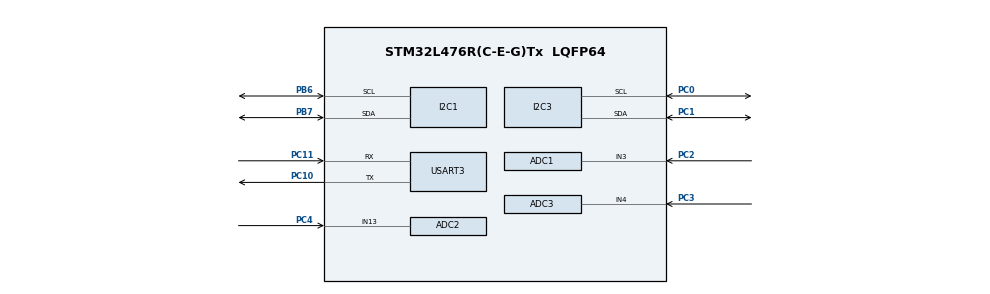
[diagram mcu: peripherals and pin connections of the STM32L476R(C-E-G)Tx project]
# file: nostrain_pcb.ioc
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ADC1.Channel-7\#ChannelRegularConversion=ADC_CHANNEL_3
ADC1.NbrOfConversionFlag=1
ADC1.OffsetNumber-7\#ChannelRegularConversion=ADC_OFFSET_NONE
ADC1.Rank-7\#ChannelRegularConversion=1
ADC1.SamplingTime-7\#ChannelRegularConversion=ADC_SAMPLETIME_2CYCLES_5
ADC1.master=1
ADC2.Channel-25\#ChannelRegularConversion=ADC_CHANNEL_13
ADC2.NbrOfConversionFlag=1
ADC2.OffsetNumber-25\#ChannelRegularConversion=ADC_OFFSET_NONE
ADC2.Rank-25\#ChannelRegularConversion=1
ADC2.SamplingTime-25\#ChannelRegularConversion=ADC_SAMPLETIME_2CYCLES_5
ADC3.Channel-13\#ChannelRegularConversion=ADC_CHANNEL_4
ADC3.NbrOfConversionFlag=1
ADC3.OffsetNumber-13\#ChannelRegularConversion=ADC_OFFSET_NONE
ADC3.Rank-13\#ChannelRegularConversion=1
ADC3.SamplingTime-13\#ChannelRegularConversion=ADC_SAMPLETIME_2CYCLES_5
Mcu.Family=STM32L4
Mcu.Name=STM32L476R(C-E-G)Tx
Mcu.Package=LQFP64
NVIC.PriorityGroup=NVIC_PRIORITYGROUP_4
PB6.Mode=I2C
PB6.Signal=I2C1_SCL
PB7.Mode=I2C
PB7.Signal=I2C1_SDA
PC0.Mode=I2C
PC0.Signal=I2C3_SCL
PC1.Mode=I2C
PC1.Signal=I2C3_SDA
PC10.Mode=Asynchronous
PC10.Signal=USART3_TX
PC11.Mode=Asynchronous
PC11.Signal=USART3_RX
PC2.Signal=ADCx_IN3
PC3.Signal=ADCx_IN4
PC4.Signal=ADCx_IN13
ProjectManager.HeapSize=0x200
ProjectManager.StackSize=0x400
ProjectManager.TargetToolchain=MDK-ARM V5
RCC.ADCFreq_Value=32000000
RCC.HSE_VALUE=8000000
RCC.HSI_VALUE=16000000
RCC.LSE_VALUE=32768
RCC.MSI_VALUE=4000000
RCC.PLLSAI1N=16
RCC.USBFreq_Value=32000000
RCC.VCOOutputFreq_Value=32000000
SH.ADCx_IN13.0=ADC2_IN13,IN13-Single-Ended
SH.ADCx_IN3.0=ADC1_IN3,IN3-Single-Ended
SH.ADCx_IN4.0=ADC3_IN4,IN4-Single-Ended
USART3.VirtualMode-Asynchronous=VM_ASYNC
board=nostrain_pcb

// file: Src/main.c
/**
  ******************************************************************************
  * File Name          : main.c
  * Description        : Main program body
  ******************************************************************************
  ** This notice applies to any and all portions of this file
  * that are not between comment pairs USER CODE BEGIN and
  * USER CODE END. Other portions of this file, whether
  * inserted by the user or by software development tools
  * are owned by their respective copyright owners.
  *
  * COPYRIGHT(c) 2018 STMicroelectronics
  *
  * Redistribution and use in source and binary forms, with or without modification,
  * are permitted provided that the following conditions are met:
  *   1. Redistributions of source code must retain the above copyright notice,
  *      this list of conditions and the following disclaimer.
  *   2. Redistributions in binary form must reproduce the above copyright notice,
  *      this list of conditions and the following disclaimer in the documentation
  *      and/or other materials provided with the distribution.
  *   3. Neither the name of STMicroelectronics nor the names of its contributors
  *      may be used to endorse or promote products derived from this software
  *      without specific prior written permission.
  *
  * THIS SOFTWARE IS PROVIDED BY THE COPYRIGHT HOLDERS AND CONTRIBUTORS "AS IS"
  * AND ANY EXPRESS OR IMPLIED WARRANTIES, INCLUDING, BUT NOT LIMITED TO, THE
  * IMPLIED WARRANTIES OF MERCHANTABILITY AND FITNESS FOR A PARTICULAR PURPOSE ARE
  * DISCLAIMED. IN NO EVENT SHALL THE COPYRIGHT HOLDER OR CONTRIBUTORS BE LIABLE
  * FOR ANY DIRECT, INDIRECT, INCIDENTAL, SPECIAL, EXEMPLARY, OR CONSEQUENTIAL
  * DAMAGES (INCLUDING, BUT NOT LIMITED TO, PROCUREMENT OF SUBSTITUTE GOODS OR
  * SERVICES; LOSS OF USE, DATA, OR PROFITS; OR BUSINESS INTERRUPTION) HOWEVER
  * CAUSED AND ON ANY THEORY OF LIABILITY, WHETHER IN CONTRACT, STRICT LIABILITY,
  * OR TORT (INCLUDING NEGLIGENCE OR OTHERWISE) ARISING IN ANY WAY OUT OF THE USE
  * OF THIS SOFTWARE, EVEN IF ADVISED OF THE POSSIBILITY OF SUCH DAMAGE.
  *
  ******************************************************************************
  */
#include "main.h"
#include "stm32l4xx_hal.h"

/* USER CODE BEGIN Includes */
#include <string.h>
#include "stm32l4xx_hal_adc.h"
#include "stm32l4xx_hal_uart.h"
#include "stm32l4xx_ll_adc.h"
#include "MPU9250.h"

/* USER CODE END Includes */

ADC_HandleTypeDef hadc1;
ADC_HandleTypeDef hadc2;
ADC_HandleTypeDef hadc3;

I2C_HandleTypeDef hi2c1;
I2C_HandleTypeDef hi2c3;

UART_HandleTypeDef huart3;

/* USER CODE BEGIN PV */
/* Private variables ---------------------------------------------------------*/
uint8_t MPU9250_ADDRESS = MPU9250_ADDRESS_1;
/* USER CODE END PV */

void SystemClock_Config(void);
static void MX_GPIO_Init(void);
static void MX_ADC1_Init(void);
static void MX_ADC3_Init(void);
static void MX_ADC2_Init(void);
static void MX_USART3_UART_Init(void);
static void MX_I2C1_Init(void);
static void MX_I2C3_Init(void);

/* USER CODE BEGIN PFP */
/* Private function prototypes -----------------------------------------------*/

static void initializeValues(void);
static void MadgwickQuaternionUpdate(float ax, float ay, float az, float gx, float gy, float gz, float mx, float my, float mz, float IMU);

/* USER CODE END PFP */

/* USER CODE BEGIN 0 */
#define VDDA_APPLI                       ((uint32_t)3300)
/* USER CODE END 0 */

int main(void)
{

  /* MCU Configuration----------------------------------------------------------*/

  /* Reset of all peripherals, Initializes the Flash interface and the Systick. */
  HAL_Init();

  /* Configure the system clock */
  SystemClock_Config();

  /* Initialize all configured peripherals */
  MX_GPIO_Init();
  MX_ADC1_Init();
  MX_ADC3_Init();
  MX_ADC2_Init();
  MX_USART3_UART_Init();
  MX_I2C1_Init();
  MX_I2C3_Init();

  /* USER CODE BEGIN 2 */
	char message[20];
	MPU9250_ADDRESS = MPU9250_ADDRESS_1;
	calibrateMPU9250(gyroBias_1, accelBias_1, &hi2c1);
	initMPU9250(&hi2c1);
	initAK8963(magCalibration_1, &hi2c1);

	calibrateMPU9250(gyroBias_2, accelBias_2, &hi2c3);
	initMPU9250(&hi2c3);
	initAK8963(magCalibration_1, &hi2c3);
	double* gyroBias = gyroBias_1;
	double* accelBias = accelBias_1;
	// User environmental x-axis correction in milliGauss, should be
	// automatically calculated
	magbias[0] = +470.;
	// User environmental x-axis correction in milliGauss TODO axis??
	magbias[1] = +120.;
	// User environmental x-axis correction in milliGauss
	magbias[2] = +125.;
	//MPU9250_ADDRESS = MPU9250_ADDRESS_1;

	initializeValues();

	IMU1.t1 = HAL_GetTick();
	IMU2.t1 = HAL_GetTick();
	int counter = 0;
  /* USER CODE END 2 */

  /* Infinite loop */
  /* USER CODE BEGIN WHILE */
	HAL_ADC_Start(&hadc1);
	HAL_ADC_Start(&hadc2);
	HAL_ADC_Start(&hadc3);
  while (1)
  {
  /* USER CODE END WHILE */

  /* USER CODE BEGIN 3 */
			counter++;

			MadgwickQuaternionUpdate(IMU1.ax, IMU1.ay, IMU1.az, (IMU1.gx)*PI/180.0f, (IMU1.gy)*PI/180.0f, (IMU1.gz)*PI/180.0f,  IMU1.my,  IMU1.mx, IMU1.mz, 1);
			MadgwickQuaternionUpdate(IMU2.ax, IMU2.ay, IMU2.az, (IMU2.gx)*PI/180.0f, (IMU2.gy)*PI/180.0f, (IMU2.gz)*PI/180.0f,  IMU2.my,  IMU2.mx, IMU2.mz, 2);

			if (counter > 5)
			{

				IMU1.t0 = IMU1.t1; // TODO- check if it's okay that we update t1 outside the loop
				IMU1.t1 = HAL_GetTick();
				deltat = (IMU1.t1-IMU1.t0)/1000.0f; //2*(t1-t0)/1000000.0f;

				MPU9250_ADDRESS = MPU9250_ADDRESS_1;
				gyroBias = gyroBias_1;
				accelBias = accelBias_1;

				readAccelData(accelCount, &hi2c1);
				getAres();
				IMU1.ax = (double)accelCount[0]*aRes - accelBias[0];
				IMU1.ay = (double)accelCount[1]*aRes - accelBias[1];
				IMU1.az = (double)accelCount[2]*aRes - accelBias[2];

				readGyroData(gyroCount, &hi2c1);
				getGres();
				IMU1.gx = (double)gyroCount[0]*gRes - gyroBias[0];
				IMU1.gy = (double)gyroCount[1]*gRes - gyroBias[1];
				IMU1.gz = (double)gyroCount[2]*gRes - gyroBias[2];

				readMagData(magCount, &hi2c1);
				getMres();
				IMU1.mx = (double)magCount[0]*mRes*magCalibration_1[0] - magbias[0];
				IMU1.my = (double)magCount[1]*mRes*magCalibration_1[1] - magbias[1];
				IMU1.mz = (double)magCount[2]*mRes*magCalibration_1[2] - magbias[2];

				gyroBias = gyroBias_2;
				accelBias = accelBias_2;

				readAccelData(accelCount, &hi2c3);
				getAres();
				IMU2.ax = (double)accelCount[0]*aRes - accelBias[0];
				IMU2.ay = (double)accelCount[1]*aRes - accelBias[1];
				IMU2.az = (double)accelCount[2]*aRes - accelBias[2];

				readGyroData(gyroCount, &hi2c3);
				getGres();
				IMU2.gx = (double)gyroCount[0]*gRes - gyroBias[0];
				IMU2.gy = (double)gyroCount[1]*gRes - gyroBias[1];
				IMU2.gz = (double)gyroCount[2]*gRes - gyroBias[2];

				readMagData(magCount, &hi2c3);
				getMres();
				IMU2.mx = (double)magCount[0]*mRes*magCalibration_1[0] - magbias[0];
				IMU2.my = (double)magCount[1]*mRes*magCalibration_1[1] - magbias[1];
				IMU2.mz = (double)magCount[2]*mRes*magCalibration_1[2] - magbias[2];

				// imu1

				roll  = atan2(2.0f * (q[0] * q[1] + q[2] * q[3]), q[0] * q[0] - q[1] * q[1] - q[2] * q[2] + q[3] * q[3]);
  			roll  *= 180.0f / PI;

				roll2  = atan2(2.0f * (p[0] * p[1] + p[2] * p[3]), p[0] * p[0] - p[1] * p[1] - p[2] * p[2] + p[3] * p[3]);
				roll2  *= 180.0f / PI;

				memset(message, 0x0, 20);
				sprintf(message, "%.3f [%0.2f]", roll2-roll, IMU1.t1-IMU1.t0);
				HAL_UART_Transmit(&huart3, (uint8_t*)message,20, 0xFFFF);
				HAL_Delay(100);
				memset(message, 0x0, 20);
				sprintf(message, "%d, %d, %d", hadc1.Instance->DR, hadc2.Instance->DR, hadc3.Instance->DR);
				HAL_UART_Transmit(&huart3, (uint8_t*)message,20, 0xFFFF);
				HAL_Delay(50);
				counter = 0;
		}
  }
  /* USER CODE END 3 */

}

/** System Clock Configuration
*/
void SystemClock_Config(void)
{

  RCC_OscInitTypeDef RCC_OscInitStruct;
  RCC_ClkInitTypeDef RCC_ClkInitStruct;
  RCC_PeriphCLKInitTypeDef PeriphClkInit;

    /**Initializes the CPU, AHB and APB busses clocks
    */
  RCC_OscInitStruct.OscillatorType = RCC_OSCILLATORTYPE_MSI;
  RCC_OscInitStruct.MSIState = RCC_MSI_ON;
  RCC_OscInitStruct.MSICalibrationValue = 0;
  RCC_OscInitStruct.MSIClockRange = RCC_MSIRANGE_6;
  RCC_OscInitStruct.PLL.PLLState = RCC_PLL_NONE;
  if (HAL_RCC_OscConfig(&RCC_OscInitStruct) != HAL_OK)
  {
    _Error_Handler(__FILE__, __LINE__);
  }

    /**Initializes the CPU, AHB and APB busses clocks
    */
  RCC_ClkInitStruct.ClockType = RCC_CLOCKTYPE_HCLK|RCC_CLOCKTYPE_SYSCLK
                              |RCC_CLOCKTYPE_PCLK1|RCC_CLOCKTYPE_PCLK2;
  RCC_ClkInitStruct.SYSCLKSource = RCC_SYSCLKSOURCE_MSI;
  RCC_ClkInitStruct.AHBCLKDivider = RCC_SYSCLK_DIV1;
  RCC_ClkInitStruct.APB1CLKDivider = RCC_HCLK_DIV1;
  RCC_ClkInitStruct.APB2CLKDivider = RCC_HCLK_DIV1;

  if (HAL_RCC_ClockConfig(&RCC_ClkInitStruct, FLASH_LATENCY_0) != HAL_OK)
  {
    _Error_Handler(__FILE__, __LINE__);
  }

  PeriphClkInit.PeriphClockSelection = RCC_PERIPHCLK_USART3|RCC_PERIPHCLK_I2C1
                              |RCC_PERIPHCLK_I2C3|RCC_PERIPHCLK_ADC;
  PeriphClkInit.Usart3ClockSelection = RCC_USART3CLKSOURCE_PCLK1;
  PeriphClkInit.I2c1ClockSelection = RCC_I2C1CLKSOURCE_PCLK1;
  PeriphClkInit.I2c3ClockSelection = RCC_I2C3CLKSOURCE_PCLK1;
  PeriphClkInit.AdcClockSelection = RCC_ADCCLKSOURCE_PLLSAI1;
  PeriphClkInit.PLLSAI1.PLLSAI1Source = RCC_PLLSOURCE_MSI;
  PeriphClkInit.PLLSAI1.PLLSAI1M = 1;
  PeriphClkInit.PLLSAI1.PLLSAI1N = 16;
  PeriphClkInit.PLLSAI1.PLLSAI1P = RCC_PLLP_DIV7;
  PeriphClkInit.PLLSAI1.PLLSAI1Q = RCC_PLLQ_DIV2;
  PeriphClkInit.PLLSAI1.PLLSAI1R = RCC_PLLR_DIV2;
  PeriphClkInit.PLLSAI1.PLLSAI1ClockOut = RCC_PLLSAI1_ADC1CLK;
  if (HAL_RCCEx_PeriphCLKConfig(&PeriphClkInit) != HAL_OK)
  {
    _Error_Handler(__FILE__, __LINE__);
  }

    /**Configure the main internal regulator output voltage
    */
  if (HAL_PWREx_ControlVoltageScaling(PWR_REGULATOR_VOLTAGE_SCALE1) != HAL_OK)
  {
    _Error_Handler(__FILE__, __LINE__);
  }

    /**Configure the Systick interrupt time
    */
  HAL_SYSTICK_Config(HAL_RCC_GetHCLKFreq()/1000);

    /**Configure the Systick
    */
  HAL_SYSTICK_CLKSourceConfig(SYSTICK_CLKSOURCE_HCLK);

  /* SysTick_IRQn interrupt configuration */
  HAL_NVIC_SetPriority(SysTick_IRQn, 0, 0);
}

/* ADC1 init function */
static void MX_ADC1_Init(void)
{

  ADC_MultiModeTypeDef multimode;
  ADC_ChannelConfTypeDef sConfig;

    /**Common config
    */
  hadc1.Instance = ADC1;
  hadc1.Init.ClockPrescaler = ADC_CLOCK_ASYNC_DIV1;
  hadc1.Init.Resolution = ADC_RESOLUTION_12B;
  hadc1.Init.DataAlign = ADC_DATAALIGN_RIGHT;
  hadc1.Init.ScanConvMode = ADC_SCAN_DISABLE;
  hadc1.Init.EOCSelection = ADC_EOC_SINGLE_CONV;
  hadc1.Init.LowPowerAutoWait = DISABLE;
  hadc1.Init.ContinuousConvMode = ENABLE;
  hadc1.Init.NbrOfConversion = 1;
  hadc1.Init.DiscontinuousConvMode = DISABLE;
  hadc1.Init.NbrOfDiscConversion = 1;
  hadc1.Init.ExternalTrigConv = ADC_SOFTWARE_START;
  hadc1.Init.ExternalTrigConvEdge = ADC_EXTERNALTRIGCONVEDGE_NONE;
  hadc1.Init.DMAContinuousRequests = DISABLE;
  hadc1.Init.Overrun = ADC_OVR_DATA_OVERWRITTEN;
  hadc1.Init.OversamplingMode = DISABLE;
  if (HAL_ADC_Init(&hadc1) != HAL_OK)
  {
    _Error_Handler(__FILE__, __LINE__);
  }

    /**Configure the ADC multi-mode
    */
  multimode.Mode = ADC_MODE_INDEPENDENT;
  if (HAL_ADCEx_MultiModeConfigChannel(&hadc1, &multimode) != HAL_OK)
  {
    _Error_Handler(__FILE__, __LINE__);
  }

    /**Configure Regular Channel
    */
  sConfig.Channel = ADC_CHANNEL_3;
  sConfig.Rank = 1;
  sConfig.SamplingTime = ADC_SAMPLETIME_2CYCLES_5;
  sConfig.SingleDiff = ADC_SINGLE_ENDED;
  sConfig.OffsetNumber = ADC_OFFSET_NONE;
  sConfig.Offset = 0;
  if (HAL_ADC_ConfigChannel(&hadc1, &sConfig) != HAL_OK)
  {
    _Error_Handler(__FILE__, __LINE__);
  }

}

/* ADC2 init function */
static void MX_ADC2_Init(void)
{

  ADC_ChannelConfTypeDef sConfig;

    /**Common config
    */
  hadc2.Instance = ADC2;
  hadc2.Init.ClockPrescaler = ADC_CLOCK_ASYNC_DIV1;
  hadc2.Init.Resolution = ADC_RESOLUTION_12B;
  hadc2.Init.DataAlign = ADC_DATAALIGN_RIGHT;
  hadc2.Init.ScanConvMode = ADC_SCAN_DISABLE;
  hadc2.Init.EOCSelection = ADC_EOC_SINGLE_CONV;
  hadc2.Init.LowPowerAutoWait = DISABLE;
  hadc2.Init.ContinuousConvMode = ENABLE;
  hadc2.Init.NbrOfConversion = 1;
  hadc2.Init.DiscontinuousConvMode = DISABLE;
  hadc2.Init.NbrOfDiscConversion = 1;
  hadc2.Init.ExternalTrigConv = ADC_SOFTWARE_START;
  hadc2.Init.ExternalTrigConvEdge = ADC_EXTERNALTRIGCONVEDGE_NONE;
  hadc2.Init.DMAContinuousRequests = DISABLE;
  hadc2.Init.Overrun = ADC_OVR_DATA_OVERWRITTEN;
  hadc2.Init.OversamplingMode = DISABLE;
  if (HAL_ADC_Init(&hadc2) != HAL_OK)
  {
    _Error_Handler(__FILE__, __LINE__);
  }

    /**Configure Regular Channel
    */
  sConfig.Channel = ADC_CHANNEL_13;
  sConfig.Rank = 1;
  sConfig.SamplingTime = ADC_SAMPLETIME_2CYCLES_5;
  sConfig.SingleDiff = ADC_SINGLE_ENDED;
  sConfig.OffsetNumber = ADC_OFFSET_NONE;
  sConfig.Offset = 0;
  if (HAL_ADC_ConfigChannel(&hadc2, &sConfig) != HAL_OK)
  {
    _Error_Handler(__FILE__, __LINE__);
  }

}

/* ADC3 init function */
static void MX_ADC3_Init(void)
{

  ADC_ChannelConfTypeDef sConfig;

    /**Common config
    */
  hadc3.Instance = ADC3;
  hadc3.Init.ClockPrescaler = ADC_CLOCK_ASYNC_DIV1;
  hadc3.Init.Resolution = ADC_RESOLUTION_12B;
  hadc3.Init.DataAlign = ADC_DATAALIGN_RIGHT;
  hadc3.Init.ScanConvMode = ADC_SCAN_DISABLE;
  hadc3.Init.EOCSelection = ADC_EOC_SINGLE_CONV;
  hadc3.Init.LowPowerAutoWait = DISABLE;
  hadc3.Init.ContinuousConvMode = ENABLE;
  hadc3.Init.NbrOfConversion = 1;
  hadc3.Init.DiscontinuousConvMode = DISABLE;
  hadc3.Init.NbrOfDiscConversion = 1;
  hadc3.Init.ExternalTrigConv = ADC_SOFTWARE_START;
  hadc3.Init.ExternalTrigConvEdge = ADC_EXTERNALTRIGCONVEDGE_NONE;
  hadc3.Init.DMAContinuousRequests = DISABLE;
  hadc3.Init.Overrun = ADC_OVR_DATA_OVERWRITTEN;
  hadc3.Init.OversamplingMode = DISABLE;
  if (HAL_ADC_Init(&hadc3) != HAL_OK)
  {
    _Error_Handler(__FILE__, __LINE__);
  }

    /**Configure Regular Channel
    */
  sConfig.Channel = ADC_CHANNEL_4;
  sConfig.Rank = 1;
  sConfig.SamplingTime = ADC_SAMPLETIME_2CYCLES_5;
  sConfig.SingleDiff = ADC_SINGLE_ENDED;
  sConfig.OffsetNumber = ADC_OFFSET_NONE;
  sConfig.Offset = 0;
  if (HAL_ADC_ConfigChannel(&hadc3, &sConfig) != HAL_OK)
  {
    _Error_Handler(__FILE__, __LINE__);
  }

}

/* I2C1 init function */
static void MX_I2C1_Init(void)
{

  hi2c1.Instance = I2C1;
  hi2c1.Init.Timing = 0x10420D12;
  hi2c1.Init.OwnAddress1 = 0;
  hi2c1.Init.AddressingMode = I2C_ADDRESSINGMODE_7BIT;
  hi2c1.Init.DualAddressMode = I2C_DUALADDRESS_DISABLE;
  hi2c1.Init.OwnAddress2 = 0;
  hi2c1.Init.OwnAddress2Masks = I2C_OA2_NOMASK;
  hi2c1.Init.GeneralCallMode = I2C_GENERALCALL_DISABLE;
  hi2c1.Init.NoStretchMode = I2C_NOSTRETCH_DISABLE;
  if (HAL_I2C_Init(&hi2c1) != HAL_OK)
  {
    _Error_Handler(__FILE__, __LINE__);
  }

    /**Configure Analogue filter
    */
  if (HAL_I2CEx_ConfigAnalogFilter(&hi2c1, I2C_ANALOGFILTER_ENABLE) != HAL_OK)
  {
    _Error_Handler(__FILE__, __LINE__);
  }

    /**Configure Digital filter
    */
  if (HAL_I2CEx_ConfigDigitalFilter(&hi2c1, 0) != HAL_OK)
  {
    _Error_Handler(__FILE__, __LINE__);
  }

}

/* I2C3 init function */
static void MX_I2C3_Init(void)
{

  hi2c3.Instance = I2C3;
  hi2c3.Init.Timing = 0x10420D12;
  hi2c3.Init.OwnAddress1 = 0;
  hi2c3.Init.AddressingMode = I2C_ADDRESSINGMODE_7BIT;
  hi2c3.Init.DualAddressMode = I2C_DUALADDRESS_DISABLE;
  hi2c3.Init.OwnAddress2 = 0;
  hi2c3.Init.OwnAddress2Masks = I2C_OA2_NOMASK;
  hi2c3.Init.GeneralCallMode = I2C_GENERALCALL_DISABLE;
  hi2c3.Init.NoStretchMode = I2C_NOSTRETCH_DISABLE;
  if (HAL_I2C_Init(&hi2c3) != HAL_OK)
  {
    _Error_Handler(__FILE__, __LINE__);
  }

    /**Configure Analogue filter
    */
  if (HAL_I2CEx_ConfigAnalogFilter(&hi2c3, I2C_ANALOGFILTER_ENABLE) != HAL_OK)
  {
    _Error_Handler(__FILE__, __LINE__);
  }

    /**Configure Digital filter
    */
  if (HAL_I2CEx_ConfigDigitalFilter(&hi2c3, 0) != HAL_OK)
  {
    _Error_Handler(__FILE__, __LINE__);
  }

}

/* USART3 init function */
static void MX_USART3_UART_Init(void)
{

  huart3.Instance = USART3;
  huart3.Init.BaudRate = 9600;
  huart3.Init.WordLength = UART_WORDLENGTH_8B;
  huart3.Init.StopBits = UART_STOPBITS_1;
  huart3.Init.Parity = UART_PARITY_NONE;
  huart3.Init.Mode = UART_MODE_TX_RX;
  huart3.Init.HwFlowCtl = UART_HWCONTROL_NONE;
  huart3.Init.OverSampling = UART_OVERSAMPLING_16;
  huart3.Init.OneBitSampling = UART_ONE_BIT_SAMPLE_DISABLE;
  huart3.AdvancedInit.AdvFeatureInit = UART_ADVFEATURE_NO_INIT;
  if (HAL_UART_Init(&huart3) != HAL_OK)
  {
    _Error_Handler(__FILE__, __LINE__);
  }

}

/** Pinout Configuration
*/
static void MX_GPIO_Init(void)
{

  /* GPIO Ports Clock Enable */
  __HAL_RCC_GPIOC_CLK_ENABLE();
  __HAL_RCC_GPIOB_CLK_ENABLE();

}

/* USER CODE BEGIN 4 */
void initializeValues(void)
 {
	 		//MPU9250_ADDRESS = MPU9250_ADDRESS_1;
			readAccelData(accelCount, &hi2c1);
			getAres();
			IMU1.ax = (double)accelCount[0]*aRes - accelBias_1[0];
			IMU1.ay = (double)accelCount[1]*aRes - accelBias_1[1];
			IMU1.az = (double)accelCount[2]*aRes - accelBias_1[2];
			readGyroData(gyroCount, &hi2c1);
			getGres();
			IMU1.gx = (double)gyroCount[0]*gRes - gyroBias_1[0];
			IMU1.gy = (double)gyroCount[1]*gRes - gyroBias_1[1];
			IMU1.gz = (double)gyroCount[2]*gRes - gyroBias_1[2];
			readMagData(magCount, &hi2c1);
			getMres();
			IMU1.mx = (double)magCount[0]*mRes*magCalibration_1[0] - magbias[0];
			IMU1.my = (double)magCount[1]*mRes*magCalibration_1[1] - magbias[1];
			IMU1.mz = (double)magCount[2]*mRes*magCalibration_1[2] - magbias[2];

		//	MPU9250_ADDRESS = MPU9250_ADDRESS_2;

			readAccelData(accelCount, &hi2c3);
			getAres();
			IMU2.ax = (double)accelCount[0]*aRes - accelBias_2[0];
			IMU2.ay = (double)accelCount[1]*aRes - accelBias_2[1];
			IMU2.az = (double)accelCount[2]*aRes - accelBias_2[2];
			readGyroData(gyroCount, &hi2c3);
			getGres();
			IMU2.gx = (double)gyroCount[0]*gRes - gyroBias_2[0];
			IMU2.gy = (double)gyroCount[1]*gRes - gyroBias_2[1];
			IMU2.gz = (double)gyroCount[2]*gRes - gyroBias_2[2];
			readMagData(magCount, &hi2c3);
			getMres();
			IMU2.mx = (double)magCount[0]*mRes*magCalibration_2[0] - magbias[0];
			IMU2.my = (double)magCount[1]*mRes*magCalibration_2[1] - magbias[1];
			IMU2.mz = (double)magCount[2]*mRes*magCalibration_2[2] - magbias[2];
}

static void MadgwickQuaternionUpdate(float ax, float ay, float az, float gx, float gy, float gz, float mx, float my, float mz, float IMU)
{
		float q1, q2, q3, q4;
		if (IMU == 1)
		{
		  q1 = q[0];
			q2 = q[1];

			q3 = q[2];
			q4 = q[3];   // short name local variable for readability
		}
		else
		{
		  q1 = p[0];
			q2 = p[1];
			q3 = p[2];
			q4 = p[3];   // short name local variable for readability
		}
		float norm;
		float hx, hy, _2bx, _2bz;
		float s1, s2, s3, s4;
		float qDot1, qDot2, qDot3, qDot4;

		// Auxiliary variables to avoid repeated arithmetic
		float _2q1mx;
		float _2q1my;
		float _2q1mz;
		float _2q2mx;
		float _4bx;
		float _4bz;
		float _2q1 = 2.0f * q1;
		float _2q2 = 2.0f * q2;
		float _2q3 = 2.0f * q3;
		float _2q4 = 2.0f * q4;
		float _2q1q3 = 2.0f * q1 * q3;
		float _2q3q4 = 2.0f * q3 * q4;
		float q1q1 = q1 * q1;
		float q1q2 = q1 * q2;
		float q1q3 = q1 * q3;
		float q1q4 = q1 * q4;
		float q2q2 = q2 * q2;
		float q2q3 = q2 * q3;
		float q2q4 = q2 * q4;
		float q3q3 = q3 * q3;
		float q3q4 = q3 * q4;
		float q4q4 = q4 * q4;
		// Normalise accelerometer measurement
		norm = sqrtf(ax * ax + ay * ay + az * az);
		if (norm == 0.0f) return; // handle NaN
		norm = 1.0f/norm;
		ax *= norm;
		ay *= norm;
		az *= norm;

		// Normalise magnetometer measurement
		norm = sqrtf(mx * mx + my * my + mz * mz);
		if (norm == 0.0f) return; // handle NaN
		norm = 1.0f/norm;
		mx *= norm;
		my *= norm;
		mz *= norm;

		// Reference direction of Earth's magnetic field
		_2q1mx = 2.0f * q1 * mx;
		_2q1my = 2.0f * q1 * my;
		_2q1mz = 2.0f * q1 * mz;
		_2q2mx = 2.0f * q2 * mx;
		hx = mx * q1q1 - _2q1my * q4 + _2q1mz * q3 + mx * q2q2 + _2q2 * my * q3 + _2q2 * mz * q4 - mx * q3q3 - mx * q4q4;
		hy = _2q1mx * q4 + my * q1q1 - _2q1mz * q2 + _2q2mx * q3 - my * q2q2 + my * q3q3 + _2q3 * mz * q4 - my * q4q4;
		_2bx = sqrtf(hx * hx + hy * hy);
		_2bz = -_2q1mx * q3 + _2q1my * q2 + mz * q1q1 + _2q2mx * q4 - mz * q2q2 + _2q3 * my * q4 - mz * q3q3 + mz * q4q4;
		_4bx = 2.0f * _2bx;
		_4bz = 2.0f * _2bz;

		// Gradient decent algorithm corrective step
		s1 = -_2q3 * (2.0f * q2q4 - _2q1q3 - ax) + _2q2 * (2.0f * q1q2 + _2q3q4 - ay) - _2bz * q3 * (_2bx * (0.5f - q3q3 - q4q4) + _2bz * (q2q4 - q1q3) - mx) + (-_2bx * q4 + _2bz * q2) * (_2bx * (q2q3 - q1q4) + _2bz * (q1q2 + q3q4) - my) + _2bx * q3 * (_2bx * (q1q3 + q2q4) + _2bz * (0.5f - q2q2 - q3q3) - mz);
		s2 = _2q4 * (2.0f * q2q4 - _2q1q3 - ax) + _2q1 * (2.0f * q1q2 + _2q3q4 - ay) - 4.0f * q2 * (1.0f - 2.0f * q2q2 - 2.0f * q3q3 - az) + _2bz * q4 * (_2bx * (0.5f - q3q3 - q4q4) + _2bz * (q2q4 - q1q3) - mx) + (_2bx * q3 + _2bz * q1) * (_2bx * (q2q3 - q1q4) + _2bz * (q1q2 + q3q4) - my) + (_2bx * q4 - _4bz * q2) * (_2bx * (q1q3 + q2q4) + _2bz * (0.5f - q2q2 - q3q3) - mz);
		s3 = -_2q1 * (2.0f * q2q4 - _2q1q3 - ax) + _2q4 * (2.0f * q1q2 + _2q3q4 - ay) - 4.0f * q3 * (1.0f - 2.0f * q2q2 - 2.0f * q3q3 - az) + (-_4bx * q3 - _2bz * q1) * (_2bx * (0.5f - q3q3 - q4q4) + _2bz * (q2q4 - q1q3) - mx) + (_2bx * q2 + _2bz * q4) * (_2bx * (q2q3 - q1q4) + _2bz * (q1q2 + q3q4) - my) + (_2bx * q1 - _4bz * q3) * (_2bx * (q1q3 + q2q4) + _2bz * (0.5f - q2q2 - q3q3) - mz);
		s4 = _2q2 * (2.0f * q2q4 - _2q1q3 - ax) + _2q3 * (2.0f * q1q2 + _2q3q4 - ay) + (-_4bx * q4 + _2bz * q2) * (_2bx * (0.5f - q3q3 - q4q4) + _2bz * (q2q4 - q1q3) - mx) + (-_2bx * q1 + _2bz * q3) * (_2bx * (q2q3 - q1q4) + _2bz * (q1q2 + q3q4) - my) + _2bx * q2 * (_2bx * (q1q3 + q2q4) + _2bz * (0.5f - q2q2 - q3q3) - mz);
		norm = sqrtf(s1 * s1 + s2 * s2 + s3 * s3 + s4 * s4);    // normalise step magnitude
		norm = 1.0f/norm;
		s1 *= norm;
		s2 *= norm;
		s3 *= norm;
		s4 *= norm;

		// Compute rate of change of quaternion
		qDot1 = 0.5f * (-q2 * gx - q3 * gy - q4 * gz) - beta * s1;
		qDot2 = 0.5f * (q1 * gx + q3 * gz - q4 * gy) - beta * s2;
		qDot3 = 0.5f * (q1 * gy - q2 * gz + q4 * gx) - beta * s3;
		qDot4 = 0.5f * (q1 * gz + q2 * gy - q3 * gx) - beta * s4;

		// Integrate to yield quaternion
		q1 += qDot1 * deltat;
		q2 += qDot2 * deltat;
		q3 += qDot3 * deltat;
		q4 += qDot4 * deltat;
		norm = sqrtf(q1 * q1 + q2 * q2 + q3 * q3 + q4 * q4);    // normalise quaternion
		norm = 1.0f/norm;

		if (IMU == 1)
		{
		q[0] = q1 * norm;
		q[1] = q2 * norm;
		q[2] = q3 * norm;
		q[3] = q4 * norm;
		}
		else
		{

		p[0] = q1 * norm;
		p[1] = q2 * norm;
		p[2] = q3 * norm;
		p[3] = q4 * norm;
		}
}

void getMres() {
  switch (Mscale)
  {
  // Possible magnetometer scales (and their register bit settings) are:
  // 14 bit resolution (0) and 16 bit resolution (1)
    case MFS_14BITS:
          mRes = 10.*4912./8190.; // Proper scale to return milliGauss
          break;
    case MFS_16BITS:
          mRes = 10.*4912./32760.0; // Proper scale to return milliGauss
          break;
  }
}

void getGres() {
  switch (Gscale)
  {
  // Possible gyro scales (and their register bit settings) are:
  // 250 DPS (00), 500 DPS (01), 1000 DPS (10), and 2000 DPS  (11).
        // Here's a bit of an algorith to calculate DPS/(ADC tick) based on that 2-bit value:
    case GFS_250DPS:
          gRes = 250.0/32768.0;
          break;
    case GFS_500DPS:
          gRes = 500.0/32768.0;
          break;
    case GFS_1000DPS:
          gRes = 1000.0/32768.0;
          break;
    case GFS_2000DPS:
          gRes = 2000.0/32768.0;
          break;
  }
}

void getAres() {
  switch (Ascale)
  {
  // Possible accelerometer scales (and their register bit settings) are:
  // 2 Gs (00), 4 Gs (01), 8 Gs (10), and 16 Gs  (11).
        // Here's a bit of an algorith to calculate DPS/(ADC tick) based on that 2-bit value:
    case AFS_2G:
          aRes = 2.0/32768.0;
          break;
    case AFS_4G:
          aRes = 4.0/32768.0;
          break;
    case AFS_8G:
          aRes = 8.0/32768.0;
          break;
    case AFS_16G:
          aRes = 16.0/32768.0;
          break;
  }
}

void readAccelData(int16_t * destination, I2C_HandleTypeDef* i2c)
{
  uint8_t rawData[6];  // x/y/z accel register data stored here
  readBytes(MPU9250_ADDRESS, ACCEL_XOUT_H, 6, &rawData[0], i2c);  // Read the six raw data registers into data array
  destination[0] = ((int16_t)rawData[0] << 8) | rawData[1] ;  // Turn the MSB and LSB into a signed 16-bit value
  destination[1] = ((int16_t)rawData[2] << 8) | rawData[3] ;
  destination[2] = ((int16_t)rawData[4] << 8) | rawData[5] ;
}

void readGyroData(int16_t * destination, I2C_HandleTypeDef* i2c)
{
  uint8_t rawData[6];  // x/y/z gyro register data stored here
  readBytes(MPU9250_ADDRESS, GYRO_XOUT_H, 6, &rawData[0], i2c);  // Read the six raw data registers sequentially into data array
  destination[0] = ((int16_t)rawData[0] << 8) | rawData[1] ;  // Turn the MSB and LSB into a signed 16-bit value
  destination[1] = ((int16_t)rawData[2] << 8) | rawData[3] ;
  destination[2] = ((int16_t)rawData[4] << 8) | rawData[5] ;
}

void readMagData(int16_t * destination, I2C_HandleTypeDef* i2c)
{
  // x/y/z gyro register data, ST2 register stored here, must read ST2 at end of
  // data acquisition
  uint8_t rawData[7];
  // Wait for magnetometer data ready bit to be set
  if(readByte(AK8963_ADDRESS, AK8963_ST1, i2c) & 0x01)
  {
    // Read the six raw data and ST2 registers sequentially into data array
    readBytes(AK8963_ADDRESS, AK8963_XOUT_L, 7, &rawData[0], i2c);
    uint8_t c = rawData[6]; // End data read by reading ST2 register
    // Check if magnetic sensor overflow set, if not then report data
    if(!(c & 0x08))
    {
      // Turn the MSB and LSB into a signed 16-bit value
      destination[0] = ((int16_t)rawData[1] << 8) | rawData[0];
      // Data stored as little Endian
      destination[1] = ((int16_t)rawData[3] << 8) | rawData[2];
      destination[2] = ((int16_t)rawData[5] << 8) | rawData[4];
    }
  }
}

void initAK8963(double * destination, I2C_HandleTypeDef* i2c)
{
  // First extract the factory calibration for each magnetometer axis
  uint8_t rawData[3];  // x/y/z gyro calibration data stored here
  writeByte(AK8963_ADDRESS, AK8963_CNTL, 0x00, i2c); // Power down magnetometer
  HAL_Delay(10);
  writeByte(AK8963_ADDRESS, AK8963_CNTL, 0x0F, i2c); // Enter Fuse ROM access mode
  HAL_Delay(10);
  readBytes(AK8963_ADDRESS, AK8963_ASAX, 3, &rawData[0], i2c);  // Read the x-, y-, and z-axis calibration values
  destination[0] =  (double)(rawData[0] - 128)/256. + 1.;   // Return x-axis sensitivity adjustment values, etc.
  destination[1] =  (double)(rawData[1] - 128)/256. + 1.;
  destination[2] =  (double)(rawData[2] - 128)/256. + 1.;
  writeByte(AK8963_ADDRESS, AK8963_CNTL, 0x00, i2c); // Power down magnetometer
  HAL_Delay(10);
  // Configure the magnetometer for continuous read and highest resolution
  // set Mscale bit 4 to 1 (0) to enable 16 (14) bit resolution in CNTL register,
  // and enable continuous mode data acquisition Mmode (bits [3:0]), 0010 for 8 Hz and 0110 for 100 Hz sample rates
  writeByte(AK8963_ADDRESS, AK8963_CNTL, Mscale << 4 | Mmode, i2c); // Set magnetometer data resolution and sample ODR
  HAL_Delay(10);
}

void initMPU9250(I2C_HandleTypeDef* i2c)
{
 // wake up device
  writeByte(MPU9250_ADDRESS, PWR_MGMT_1, 0x00, i2c); // Clear sleep mode bit (6), enable all sensors
  HAL_Delay(100); // Wait for all registers to reset

 // get stable time source
  writeByte(MPU9250_ADDRESS, PWR_MGMT_1, 0x01, i2c);  // Auto select clock source to be PLL gyroscope reference if ready else
  HAL_Delay(200);

 // Configure Gyro and Thermometer
 // Disable FSYNC and set thermometer and gyro bandwidth to 41 and 42 Hz, respectively;
 // minimum HAL_Delay time for this setting is 5.9 ms, which means sensor fusion update rates cannot
 // be higher than 1 / 0.0059 = 170 Hz
 // DLPF_CFG = bits 2:0 = 011; this limits the sample rate to 1000 Hz for both
 // With the MPU9250, it is possible to get gyro sample rates of 32 kHz (!), 8 kHz, or 1 kHz
  writeByte(MPU9250_ADDRESS, CONFIG, 0x03, i2c);

 // Set sample rate = gyroscope output rate/(1 + SMPLRT_DIV)
  writeByte(MPU9250_ADDRESS, SMPLRT_DIV, 0x04, i2c);  // Use a 200 Hz rate; a rate consistent with the filter update rate
                                    // determined inset in CONFIG above

 // Set gyroscope full scale range
 // Range selects FS_SEL and AFS_SEL are 0 - 3, so 2-bit values are left-shifted into positions 4:3
  uint8_t c = readByte(MPU9250_ADDRESS, GYRO_CONFIG, i2c); // get current GYRO_CONFIG register value
 // c = c & ~0xE0; // Clear self-test bits [7:5]
  c = c & ~0x02; // Clear Fchoice bits [1:0]
  c = c & ~0x18; // Clear AFS bits [4:3]
  c = c | Gscale << 3; // Set full scale range for the gyro
 // c =| 0x00; // Set Fchoice for the gyro to 11 by writing its inverse to bits 1:0 of GYRO_CONFIG
  writeByte(MPU9250_ADDRESS, GYRO_CONFIG, c, i2c ); // Write new GYRO_CONFIG value to register

 // Set accelerometer full-scale range configuration
  c = readByte(MPU9250_ADDRESS, ACCEL_CONFIG, i2c); // get current ACCEL_CONFIG register value
 // c = c & ~0xE0; // Clear self-test bits [7:5]
  c = c & ~0x18;  // Clear AFS bits [4:3]
  c = c | Ascale << 3; // Set full scale range for the accelerometer
  writeByte(MPU9250_ADDRESS, ACCEL_CONFIG, c, i2c); // Write new ACCEL_CONFIG register value

 // Set accelerometer sample rate configuration
 // It is possible to get a 4 kHz sample rate from the accelerometer by choosing 1 for
 // accel_fchoice_b bit [3]; in this case the bandwidth is 1.13 kHz
  c = readByte(MPU9250_ADDRESS, ACCEL_CONFIG2, i2c); // get current ACCEL_CONFIG2 register value
  c = c & ~0x0F; // Clear accel_fchoice_b (bit 3) and A_DLPFG (bits [2:0])
  c = c | 0x03;  // Set accelerometer rate to 1 kHz and bandwidth to 41 Hz
  writeByte(MPU9250_ADDRESS, ACCEL_CONFIG2, c, i2c); // Write new ACCEL_CONFIG2 register value
 // The accelerometer, gyro, and thermometer are set to 1 kHz sample rates,
 // but all these rates are further reduced by a factor of 5 to 200 Hz because of the SMPLRT_DIV setting

  // Configure Interrupts and Bypass Enable
  // Set interrupt pin active high, push-pull, hold interrupt pin level HIGH until interrupt cleared,
  // clear on read of INT_STATUS, and enable I2C_BYPASS_EN so additional chips
  // can join the I2C bus and all can be controlled by the Arduino as master
   writeByte(MPU9250_ADDRESS, INT_PIN_CFG, 0x22, i2c);
   writeByte(MPU9250_ADDRESS, INT_ENABLE, 0x01, i2c);  // Enable data ready (bit 0) interrupt
   HAL_Delay(100);
}

// Function which accumulates gyro and accelerometer data after device
// initialization. It calculates the average of the at-rest readings and then
// loads the resulting offsets into accelerometer and gyro bias registers.
void calibrateMPU9250(double * gyroBias, double * accelBias, I2C_HandleTypeDef* i2c )
{
  uint8_t data[12]; // data array to hold accelerometer and gyro x, y, z, data
  uint16_t ii, packet_count, fifo_count;
  int32_t gyro_bias[3]  = {0, 0, 0}, accel_bias[3] = {0, 0, 0};

  // reset device
  // Write a one to bit 7 reset bit; toggle reset device
  writeByte(MPU9250_ADDRESS, PWR_MGMT_1, 0x80, i2c);
  HAL_Delay(100);

 // get stable time source; Auto select clock source to be PLL gyroscope
 // reference if ready else use the internal oscillator, bits 2:0 = 001
  writeByte(MPU9250_ADDRESS, PWR_MGMT_1, 0x01, i2c);
  writeByte(MPU9250_ADDRESS, PWR_MGMT_2, 0x00, i2c);
  HAL_Delay(200);

  // Configure device for bias calculation
  writeByte(MPU9250_ADDRESS, INT_ENABLE, 0x00, i2c);   // Disable all interrupts
  writeByte(MPU9250_ADDRESS, FIFO_EN, 0x00, i2c);      // Disable FIFO
  writeByte(MPU9250_ADDRESS, PWR_MGMT_1, 0x00, i2c);   // Turn on internal clock source
  writeByte(MPU9250_ADDRESS, I2C_MST_CTRL, 0x00, i2c); // Disable I2C master
  writeByte(MPU9250_ADDRESS, USER_CTRL, 0x00, i2c);    // Disable FIFO and I2C master modes
  writeByte(MPU9250_ADDRESS, USER_CTRL, 0x0C, i2c);    // Reset FIFO and DMP
  HAL_Delay(15);

// Configure MPU6050 gyro and accelerometer for bias calculation
  writeByte(MPU9250_ADDRESS, CONFIG, 0x01, i2c);      // Set low-pass filter to 188 Hz
  writeByte(MPU9250_ADDRESS, SMPLRT_DIV, 0x00, i2c);  // Set sample rate to 1 kHz
  writeByte(MPU9250_ADDRESS, GYRO_CONFIG, 0x00, i2c);  // Set gyro full-scale to 250 degrees per second, maximum sensitivity
  writeByte(MPU9250_ADDRESS, ACCEL_CONFIG, 0x00, i2c); // Set accelerometer full-scale to 2 g, maximum sensitivity

  uint16_t  gyrosensitivity  = 131;   // = 131 LSB/degrees/sec
  uint16_t  accelsensitivity = 16384;  // = 16384 LSB/g

    // Configure FIFO to capture accelerometer and gyro data for bias calculation
  writeByte(MPU9250_ADDRESS, USER_CTRL, 0x40, i2c);   // Enable FIFO
  writeByte(MPU9250_ADDRESS, FIFO_EN, 0x78, i2c);     // Enable gyro and accelerometer sensors for FIFO  (max size 512 bytes in MPU-9150)
  HAL_Delay(40); // accumulate 40 samples in 40 milliseconds = 480 bytes

// At end of sample accumulation, turn off FIFO sensor read
  writeByte(MPU9250_ADDRESS, FIFO_EN, 0x00, i2c);        // Disable gyro and accelerometer sensors for FIFO
  readBytes(MPU9250_ADDRESS, FIFO_COUNTH, 2, &data[0], i2c); // read FIFO sample count
  fifo_count = ((uint16_t)data[0] << 8) | data[1];
  packet_count = fifo_count/12;// How many sets of full gyro and accelerometer data for averaging

  for (ii = 0; ii < packet_count; ii++)
  {
    int16_t accel_temp[3] = {0, 0, 0}, gyro_temp[3] = {0, 0, 0};
    readBytes(MPU9250_ADDRESS, FIFO_R_W, 12, &data[0], i2c); // read data for averaging
    accel_temp[0] = (int16_t) (((int16_t)data[0] << 8) | data[1]  );  // Form signed 16-bit integer for each sample in FIFO
    accel_temp[1] = (int16_t) (((int16_t)data[2] << 8) | data[3]  );
    accel_temp[2] = (int16_t) (((int16_t)data[4] << 8) | data[5]  );
    gyro_temp[0]  = (int16_t) (((int16_t)data[6] << 8) | data[7]  );
    gyro_temp[1]  = (int16_t) (((int16_t)data[8] << 8) | data[9]  );
    gyro_temp[2]  = (int16_t) (((int16_t)data[10] << 8) | data[11]);

    accel_bias[0] += (int32_t) accel_temp[0]; // Sum individual signed 16-bit biases to get accumulated signed 32-bit biases
    accel_bias[1] += (int32_t) accel_temp[1];
    accel_bias[2] += (int32_t) accel_temp[2];
    gyro_bias[0]  += (int32_t) gyro_temp[0];
    gyro_bias[1]  += (int32_t) gyro_temp[1];
    gyro_bias[2]  += (int32_t) gyro_temp[2];
  }
  accel_bias[0] /= (int32_t) packet_count; // Normalize sums to get average count biases
  accel_bias[1] /= (int32_t) packet_count;
  accel_bias[2] /= (int32_t) packet_count;
  gyro_bias[0]  /= (int32_t) packet_count;
  gyro_bias[1]  /= (int32_t) packet_count;
  gyro_bias[2]  /= (int32_t) packet_count;

  if(accel_bias[2] > 0L) {accel_bias[2] -= (int32_t) accelsensitivity;}  // Remove gravity from the z-axis accelerometer bias calculation
  else {accel_bias[2] += (int32_t) accelsensitivity;}

// Construct the gyro biases for push to the hardware gyro bias registers, which are reset to zero upon device startup
  data[0] = (-gyro_bias[0]/4  >> 8) & 0xFF; // Divide by 4 to get 32.9 LSB per deg/s to conform to expected bias input format
  data[1] = (-gyro_bias[0]/4)       & 0xFF; // Biases are additive, so change sign on calculated average gyro biases
  data[2] = (-gyro_bias[1]/4  >> 8) & 0xFF;
  data[3] = (-gyro_bias[1]/4)       & 0xFF;
  data[4] = (-gyro_bias[2]/4  >> 8) & 0xFF;
  data[5] = (-gyro_bias[2]/4)       & 0xFF;

// Push gyro biases to hardware registers
  writeByte(MPU9250_ADDRESS, XG_OFFSET_H, data[0], i2c);
  writeByte(MPU9250_ADDRESS, XG_OFFSET_L, data[1], i2c);
  writeByte(MPU9250_ADDRESS, YG_OFFSET_H, data[2], i2c);
  writeByte(MPU9250_ADDRESS, YG_OFFSET_L, data[3], i2c);
  writeByte(MPU9250_ADDRESS, ZG_OFFSET_H, data[4], i2c);
  writeByte(MPU9250_ADDRESS, ZG_OFFSET_L, data[5], i2c);

// Output scaled gyro biases for display in the main program
  gyroBias[0] = (double) gyro_bias[0]/(double) gyrosensitivity;
  gyroBias[1] = (double) gyro_bias[1]/(double) gyrosensitivity;
  gyroBias[2] = (double) gyro_bias[2]/(double) gyrosensitivity;

// Construct the accelerometer biases for push to the hardware accelerometer bias registers. These registers contain
// factory trim values which must be added to the calculated accelerometer biases; on boot up these registers will hold
// non-zero values. In addition, bit 0 of the lower byte must be preserved since it is used for temperature
// compensation calculations. Accelerometer bias registers expect bias input as 2048 LSB per g, so that
// the accelerometer biases calculated above must be divided by 8.

  int32_t accel_bias_reg[3] = {0, 0, 0}; // A place to hold the factory accelerometer trim biases
  readBytes(MPU9250_ADDRESS, XA_OFFSET_H, 2, &data[0], i2c); // Read factory accelerometer trim values
  accel_bias_reg[0] = (int32_t) (((int16_t)data[0] << 8) | data[1]);
  readBytes(MPU9250_ADDRESS, YA_OFFSET_H, 2, &data[0], i2c);
  accel_bias_reg[1] = (int32_t) (((int16_t)data[0] << 8) | data[1]);
  readBytes(MPU9250_ADDRESS, ZA_OFFSET_H, 2, &data[0], i2c);
  accel_bias_reg[2] = (int32_t) (((int16_t)data[0] << 8) | data[1]);

  uint32_t mask = 1uL; // Define mask for temperature compensation bit 0 of lower byte of accelerometer bias registers
  uint8_t mask_bit[3] = {0, 0, 0}; // Define array to hold mask bit for each accelerometer bias axis

  for(ii = 0; ii < 3; ii++) {
    if((accel_bias_reg[ii] & mask)) mask_bit[ii] = 0x01; // If temperature compensation bit is set, record that fact in mask_bit
  }

  // Construct total accelerometer bias, including calculated average accelerometer bias from above
  accel_bias_reg[0] -= (accel_bias[0]/8); // Subtract calculated averaged accelerometer bias scaled to 2048 LSB/g (16 g full scale)
  accel_bias_reg[1] -= (accel_bias[1]/8);
  accel_bias_reg[2] -= (accel_bias[2]/8);

  data[0] = (accel_bias_reg[0] >> 8) & 0xFF;
  data[1] = (accel_bias_reg[0])      & 0xFF;
  data[1] = data[1] | mask_bit[0]; // preserve temperature compensation bit when writing back to accelerometer bias registers
  data[2] = (accel_bias_reg[1] >> 8) & 0xFF;
  data[3] = (accel_bias_reg[1])      & 0xFF;
  data[3] = data[3] | mask_bit[1]; // preserve temperature compensation bit when writing back to accelerometer bias registers
  data[4] = (accel_bias_reg[2] >> 8) & 0xFF;
  data[5] = (accel_bias_reg[2])      & 0xFF;
  data[5] = data[5] | mask_bit[2]; // preserve temperature compensation bit when writing back to accelerometer bias registers

// Apparently this is not working for the acceleration biases in the MPU-9250
// Are we handling the temperature correction bit properly?
// Push accelerometer biases to hardware registers
  writeByte(MPU9250_ADDRESS, XA_OFFSET_H, data[0], i2c);
  writeByte(MPU9250_ADDRESS, XA_OFFSET_L, data[1], i2c);
  writeByte(MPU9250_ADDRESS, YA_OFFSET_H, data[2], i2c);
  writeByte(MPU9250_ADDRESS, YA_OFFSET_L, data[3], i2c);
  writeByte(MPU9250_ADDRESS, ZA_OFFSET_H, data[4], i2c);
  writeByte(MPU9250_ADDRESS, ZA_OFFSET_L, data[5], i2c);

// Output scaled accelerometer biases for display in the main program
   accelBias[0] = (double)accel_bias[0]/(double)accelsensitivity;
   accelBias[1] = (double)accel_bias[1]/(double)accelsensitivity;
   accelBias[2] = (double)accel_bias[2]/(double)accelsensitivity;
}

void writeByte(uint8_t address, uint8_t subAddress, uint8_t data, I2C_HandleTypeDef* i2c)
{

  HAL_I2C_Mem_Write(i2c, address, subAddress, I2C_MEMADD_SIZE_8BIT, &data,  1, 10000);
}

uint8_t readByte(uint8_t address, uint8_t subAddress, I2C_HandleTypeDef* i2c)
{
  uint8_t data; // `data` will store the register data
  HAL_I2C_Mem_Read(i2c, address, subAddress, I2C_MEMADD_SIZE_8BIT, &data, 1, 10000);
  return data;                             // Return data read from slave register
}

void readBytes(uint8_t address, uint8_t subAddress, uint8_t count,
                        uint8_t * dest, I2C_HandleTypeDef* i2c)
{
  HAL_I2C_Mem_Read(i2c, address,  subAddress, I2C_MEMADD_SIZE_8BIT, dest, count, 10000);
}

/* USER CODE END 4 */

void _Error_Handler(char * file, int line)
{
  while(1)
  {
  }
}

/************************ (C) COPYRIGHT STMicroelectronics *****END OF FILE****/
